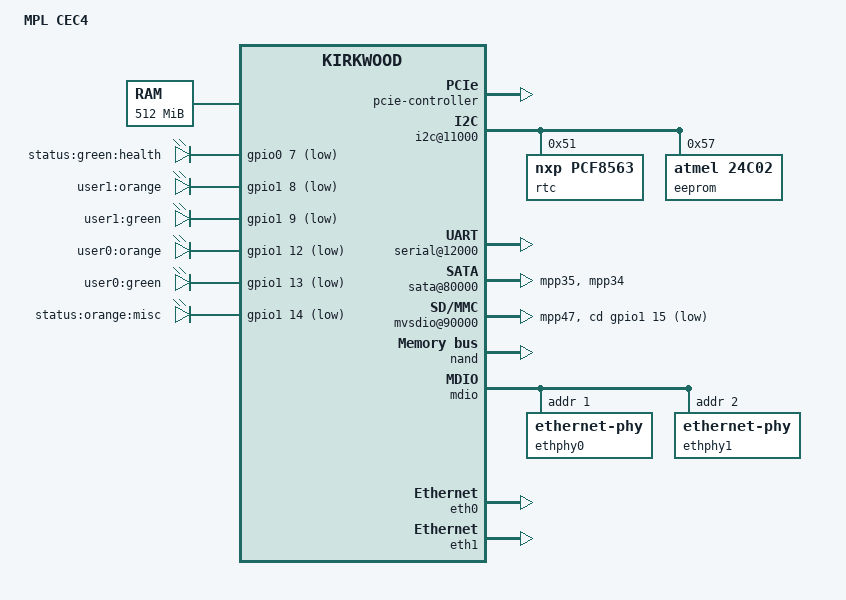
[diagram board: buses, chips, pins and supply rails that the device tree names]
/dts-v1/;

#include "kirkwood.dtsi"
#include "kirkwood-6281.dtsi"

/ {
	model = "MPL CEC4";
	compatible = "mpl,cec4-10", "mpl,cec4", "marvell,kirkwood-88f6281", "marvell,kirkwood";

        memory {
                device_type = "memory";
                reg = <0x00000000 0x20000000>;
        };

        chosen {
                bootargs = "console=ttyS0,115200n8 earlyprintk";
        };

	mbus {
		pcie-controller {
			status = "okay";

			pcie@1,0 {
				status = "okay";
			};
		};
	};

	ocp@f1000000 {
		pinctrl: pinctrl@10000 {
			pmx_led_health: pmx-led-health {
				marvell,pins = "mpp7";
				marvell,function = "gpo";
			};

			pmx_sata1: pmx-sata1 {
				marvell,pins = "mpp34";
				marvell,function = "sata1";
			};

			pmx_sata0: pmx-sata0 {
				marvell,pins = "mpp35";
				marvell,function = "sata0";
			};

			pmx_led_user1o: pmx-led-user1o {
				marvell,pins = "mpp40";
				marvell,function = "gpio";
			};

			pmx_led_user1g: pmx-led-user1g {
				marvell,pins = "mpp41";
				marvell,function = "gpio";
			};

			pmx_led_user0o: pmx-led-user0o {
				marvell,pins = "mpp44";
				marvell,function = "gpio";
			};

			pmx_led_user0g: pmx-led-user0g {
				marvell,pins = "mpp45";
				marvell,function = "gpio";
			};

			pmx_led_misc: pmx-led-misc {
				marvell,pins = "mpp46";
				marvell,function = "gpio";
			};

			pmx_sdio_cd: pmx-sdio-cd {
				marvell,pins = "mpp47";
				marvell,function = "gpio";
			};
		};

                i2c@11000 {
                        status = "okay";

			rtc@51 {
				compatible = "nxp,pcf8563";
				reg = <0x51>;
			};

			eeprom@57 {
				compatible = "atmel,24c02";
				reg = <0x57>;
			};

                };

                serial@12000 {
                        status = "ok";
                        pinctrl-0 = <&pmx_uart0>;
                        pinctrl-names = "default";
                };

		rtc@10300 {
			status = "disabled";
		};

		sata@80000 {
			pinctrl-0 = <&pmx_sata0 &pmx_sata1>;
			pinctrl-names = "default";
			nr-ports = <2>;
			status = "okay";
		};

		mvsdio@90000 {
			pinctrl-0 = <&pmx_sdio &pmx_sdio_cd>;
			pinctrl-names = "default";
			status = "okay";
			cd-gpios = <&gpio1 15 GPIO_ACTIVE_LOW>;
			/* No WP GPIO */
		};
	};

	gpio-leds {
		compatible = "gpio-leds";
		pinctrl-0 = < &pmx_led_health
			      &pmx_led_user1o
			      &pmx_led_user1g &pmx_led_user0o
			      &pmx_led_user0g &pmx_led_misc
			    >;
		pinctrl-names = "default";

		health {
			label = "status:green:health";
			gpios = <&gpio0 7 GPIO_ACTIVE_LOW>;
		};

		user1o {
			label = "user1:orange";
			gpios = <&gpio1 8 GPIO_ACTIVE_LOW>;
			default-state = "on";
		};

		user1g {
			label = "user1:green";
			gpios = <&gpio1 9 GPIO_ACTIVE_LOW>;
			default-state = "on";
		};

		user0o {
			label = "user0:orange";
			gpios = <&gpio1 12 GPIO_ACTIVE_LOW>;
			default-state = "on";
		};

		user0g {
			label = "user0:green";
			gpios = <&gpio1 13 GPIO_ACTIVE_LOW>;
			default-state = "on";
		};

		misc {
			label = "status:orange:misc";
			gpios = <&gpio1 14 GPIO_ACTIVE_LOW>;
			default-state = "on";
		};

	};
};

&nand {
	pinctrl-0 = <&pmx_nand>;
	pinctrl-names = "default";
	status = "okay";

	partition@0 {
		label = "uboot";
		reg = <0x0000000 0x100000>;
	};

	partition@100000 {
		label = "env";
		reg = <0x100000 0x80000>;
	};

	partition@180000 {
		label = "fdt";
		reg = <0x180000 0x80000>;
	};

	partition@200000 {
		label = "kernel";
		reg = <0x200000 0x400000>;
	};

	partition@600000 {
		label = "rootfs";
		reg = <0x600000 0x1fa00000>;
	};
};

&mdio {
	status = "okay";

	ethphy0: ethernet-phy@1 {
		reg = <1>;
	};

	ethphy1: ethernet-phy@2 {
		reg = <2>;
	};
};

&eth0 {
	status = "okay";
	ethernet0-port@0 {
		phy-handle = <&ethphy0>;
	};
};

&eth1 {
	status = "okay";
	ethernet1-port@0 {
		phy-handle = <&ethphy1>;
	};
};
